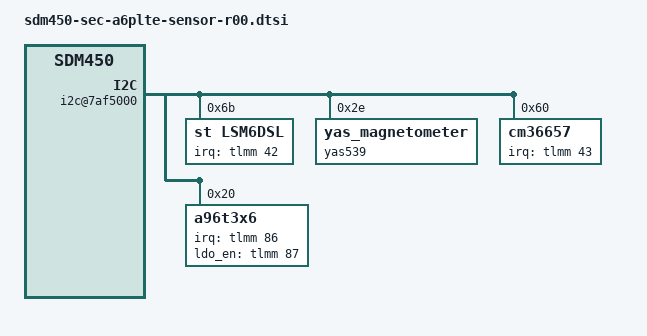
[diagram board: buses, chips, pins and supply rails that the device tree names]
/* Copyright (c) 2017, The Linux Foundation. All rights reserved.
 *
 * This program is free software; you can redistribute it and/or modify
 * it under the terms of the GNU General Public License version 2 and
 * only version 2 as published by the Free Software Foundation.
 *
 * This program is distributed in the hope that it will be useful,
 * but WITHOUT ANY WARRANTY; without even the implied warranty of
 * MERCHANTABILITY or FITNESS FOR A PARTICULAR PURPOSE.  See the
 * GNU General Public License for more details.
 */

&soc {
	tlmm: pinctrl@1000000 {
		acc_int: acc_int {
			mux {
				pins = "gpio42";
				function = "gpio";
			};
			config {
				pins = "gpio42";
				drive-strength = <2>;
				bias-disable;
			};
		};

		prox_int: prox_int {
			mux {
				pins = "gpio43";
				function = "gpio";
			};
			config {
				pins = "gpio43";
				drive-strength = <2>;
				bias-disable;
			};
		};
		grip_int: grip_int {
			mux {
				pins = "gpio86";
				function = "gpio";
			};
			config {
				pins = "gpio86";
				drive-strength = <2>;
				bias-disable;
			};
		};
	};

	i2c@7af5000 {
		status = "okay";
		lsm6dsl@6b {
			compatible = "st,lsm6dsl";
			reg = <0x6b>;
			pinctrl-names = "default";
			pinctrl-0 = <&acc_int>;
			interrupt-parent = <&tlmm>;
			interrupts = <42 0>;
			st,orientation = <1 2 1 0 1 1 1 1 2>;
			st,drdy-int-pin = <1>;
			st,irq_gpio = <&tlmm 42 0x00>;
		};

		yas539@2e {
			compatible = "yas_magnetometer";
			reg = <0x2e>;
			yas,orientation = <6>;
			yas,softiron = <10000 0 0 0 10000 0 0 0 10000>;
			yas,softiron_sign = <2 1 1 1 2 1 1 1 2>;
		};

		cm36657@60 {
			compatible = "cm36657";
			reg = <0x60>;
			pinctrl-names = "default";
			pinctrl-0 = <&prox_int>;
			interrupt-parent = <&tlmm>;
			interrupts = <43 0>;
			cm36657,irq_gpio = <&tlmm 43 0>;
			cm36657,thresh_high = <120>;
			cm36657,thresh_low = <100>;
			cm36657,thresh_detect_high = <4000>;
			cm36657,thresh_detect_low = <600>;
			cm36657,ps_conf1_reg = <0x88a8>;
			cm36657,ps_conf3_reg = <0x0108>;
		};

		a96t3x6@20 {
			compatible = "a96t3x6";
			pinctrl-names = "default";
			pinctrl-0 = <&grip_int>;
			reg = <0x20>;
			interrupt-parent = <&tlmm>;
			interrupts = <86 0>;
			a96t3x6,irq_gpio = <&tlmm 86 0>;
			a96t3x6,ldo_en = <&tlmm 87 0>;
			a96t3x6,fw_path = "abov/a96t326_j8plte.fw";
			a96t3x6,chipid = "A96T326";
			a96t3x6,firmup_cmd = <0x32>;
			a96t3x6,earjack_noise = <1>;
		};
	};
};
